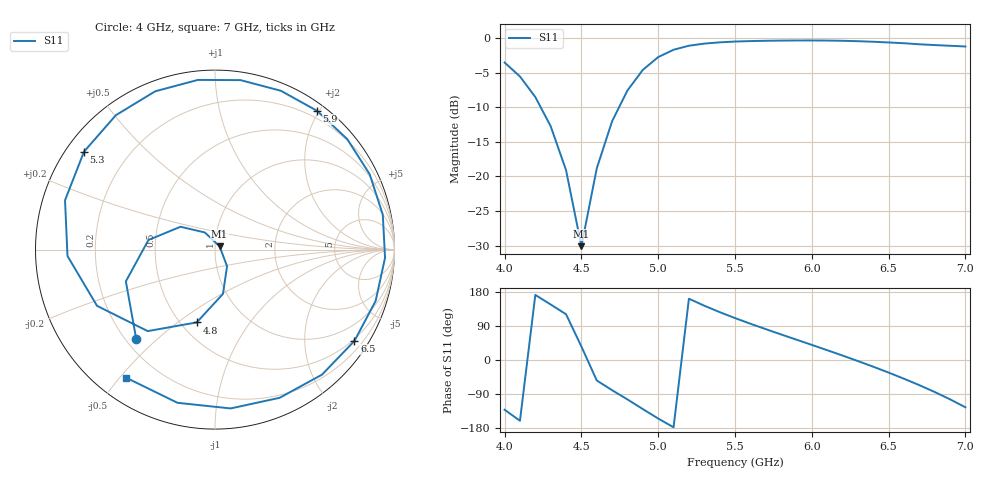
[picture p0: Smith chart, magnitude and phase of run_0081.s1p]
! Touchstone file exported from HFSS 2024.2.0
!  File:  C:/Users/wsak9/Desktop/Sim Fast/Widenad Patch/WP_AI_V1_sweep.aedt
!  Generated:  06:18:17 PM Oct 13, 2026
!  Design:  A1_model
!  Project:  WP_AI_V1_sweep
!  Setup:  Setup1
!  Solution:  Sweep
! Variables:
!  Air_gap = 4.18mm
!  Curve_Amp1 = 1.67
!  Curve_len1 = 1
!  Curve_pos = 13.27mm
!  Extra = 6.02mm
!  H_sub = 0.79mm
!  L_Patch = 22.54mm
!  L_Patch1 = 20.21mm
!  Sx = 3.68mm
!  Sy = 3.43mm
!  WS = 1.15mm
!  W_Patch = 14.88mm
!  W_Patch1 = 14.19mm
!Data is not renormalized
# GHz S MA
! Terminal data exported
! Port[1] = 1
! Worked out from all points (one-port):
!   31 points, 4 GHz to 7 GHz, reference per port
!   lowest |S11| = -30.1 dB at 4.5 GHz (marker M1), VSWR 1.06
!   |S11| at or under -10 dB: 4.235 GHz to 4.745 GHz (510.5 MHz wide, 11.4 % of centre)
!   S11 on the Smith chart (normalised r, x): 4 GHz: 0.24, -0.43; 4.8 GHz: 0.60, -0.59; 5.3 GHz: 0.05, +0.33; 5.9 GHz: 0.10, +1.97; 6.5 GHz: 0.45, -3.30; 7 GHz: 0.09, -0.52
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4  0.6648 -131.3
4.1  0.5273 -160.4
4.2  0.3747 171.8
4.3  0.2305 146.5
4.4  0.111 120.7
4.5  0.03137 35.5
4.6  0.1144 -54.1
4.7  0.2507 -79.8
4.8  0.4182 -104.1
4.9  0.5889 -129.5
5  0.7281 -154.5
5.1  0.8226 -177.5
5.2  0.8796 161.8
5.3  0.9112 143.2
5.4  0.9305 126.4
5.5  0.9428 110.7
5.6  0.9502 95.8
5.7  0.9549 81.4
5.9  0.9598 53.7
6.1  0.9586 25.9
6.2  0.9548 11.7
6.3  0.9485 -2.8
6.4  0.9396 -17.7
6.5  0.9287 -33.2
6.7  0.9009 -66.4
6.8  0.8892 -84.4
6.9  0.8788 -103.8
7  0.8686 -124.8
